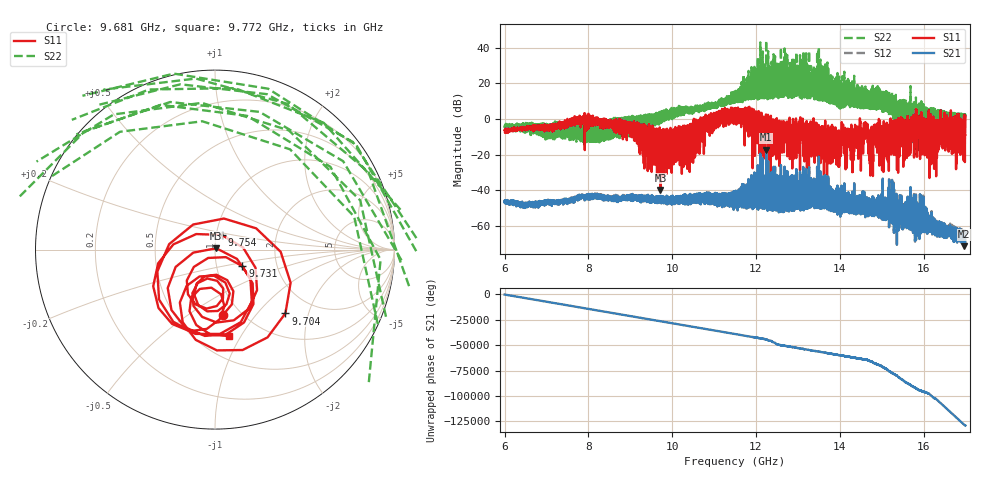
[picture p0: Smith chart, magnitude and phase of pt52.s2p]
#  HZ  S  RI  R  50.00
! Rohde & Schwarz Vector Network Analyzer
! Rohde-Schwarz,ZNA67-2Port,1332450062101215,3.01
! Created: UTC 10/16/2026, 9:59:46 AM
! freq[Hz]  re:S11  im:S11  re:S21  im:S21  re:S12  im:S12  re:S22  im:S22
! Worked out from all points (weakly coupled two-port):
!   11001 points, 6 GHz to 17 GHz, reference 50 ohm
!   highest |S21| = -17.28 dB at 12.24 GHz (marker M1); lowest = -71.4 dB at 16.97 GHz (marker M2)
!   lowest |S11| = -39.8 dB at 9.72 GHz (marker M3), VSWR 1.02, Z = 50.7 + j0.749 ohm
!   |S11| at or under -10 dB: 13.98415 GHz to 14.04047 GHz (56.32 MHz wide, 0.402 % of centre); 14.28871 GHz to 14.31658 GHz (27.88 MHz wide, 0.195 % of centre); 14.70578 GHz to 14.7351 GHz (29.32 MHz wide, 0.199 % of centre) (the widest 3 of 418)
!   |S22| runs from -20.2 to 44.1 dB; largest |S21 - S12| = 0.018
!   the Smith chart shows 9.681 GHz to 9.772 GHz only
!   S11 on the Smith chart (normalised r, x): 9.681 GHz: 0.83, -0.70; 9.704 GHz: 1.45, -1.43; 9.731 GHz: 1.33, -0.25; 9.754 GHz: 1.06, +0.17; 9.772 GHz: 0.71, -0.89
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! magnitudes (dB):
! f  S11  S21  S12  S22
! 6 GHz  -6.1  -46.3  -46.3  -4.9
! 7.834 GHz  -0.1  -43.1  -42.9  -3.2
! 9.667 GHz  -6.1  -44.6  -44.8  2.9
! 9.681 GHz  -8.7  -44.0  -44.3  3.0
! 9.704 GHz  -5.5  -43.9  -44.1  3.3
! 9.72 GHz  -39.8  -46.0  -46.2  -0.6
! 9.731 GHz  -15.0  -45.4  -45.5  -1.4
! 9.754 GHz  -21.0  -44.7  -44.8  0.3
! 9.772 GHz  -6.2  -45.0  -45.1  3.8
! 11.5 GHz  5.8  -47.3  -47.3  10.7
! 12.24 GHz  -2.5  -17.3  -17.1  44.1
! 13.33 GHz  -13.1  -45.7  -45.7  15.0
! 13.97 GHz  -16.4  -50.8  -50.7  9.2
! 14.08 GHz  -4.1  -51.8  -51.7  6.5
! 14.63 GHz  -4.5  -50.3  -50.8  8.4
! 14.74 GHz  -7.9  -52.0  -52.1  9.1
! 15.17 GHz  -7.0  -38.6  -38.4  14.1
! 15.62 GHz  1.7  -51.6  -51.5  5.8
! 15.84 GHz  -9.6  -52.2  -52.2  -1.9
! 16.19 GHz  -13.9  -57.6  -57.6  5.8
! 16.97 GHz  1.7  -71.4  -70.3  -1.1
! 17 GHz  1.4  -64.2  -64.0  1.4
